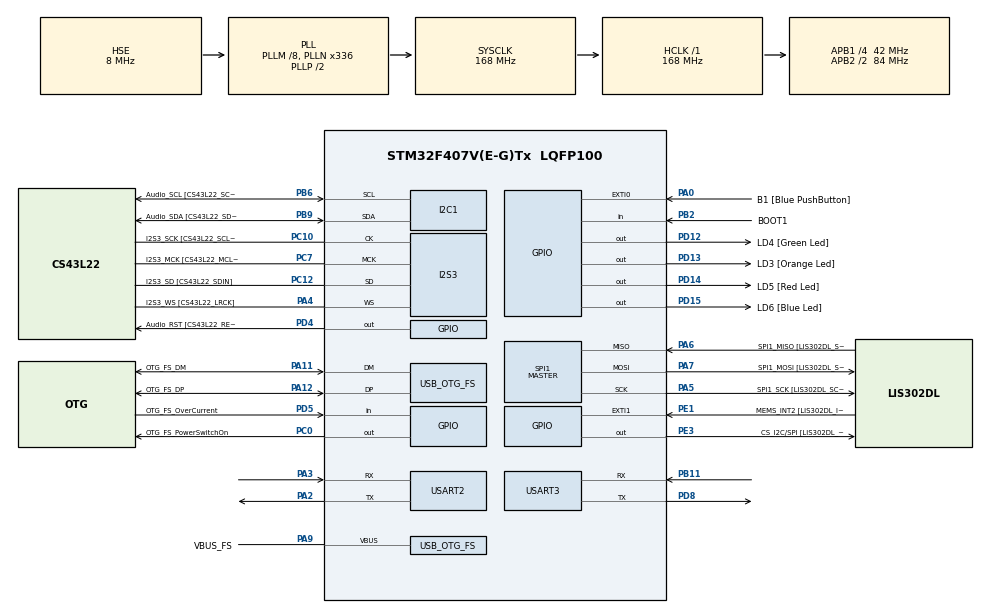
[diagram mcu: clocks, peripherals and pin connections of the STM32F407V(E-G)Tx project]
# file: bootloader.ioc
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I2S3.AudioFreq-Half_Duplex_Master=I2S_AUDIOFREQ_96K
I2S3.ErrorAudioFreq=-2.34 %
I2S3.ErrorAudioFreq-Half_Duplex_Master=0.8 %
I2S3.FullDuplexMode=I2S_FULLDUPLEXMODE_DISABLE
I2S3.Instance=SPI$Index
I2S3.RealAudioFreq=93.75 KHz
I2S3.RealAudioFreq-Half_Duplex_Master=96.774 KHz
I2S3.VirtualMode=I2S_MODE_MASTER
Mcu.Family=STM32F4
Mcu.Name=STM32F407V(E-G)Tx
Mcu.Package=LQFP100
NVIC.EXTI0_IRQn=true\:0\:0\:false\:false\:true\:true\:true\:true
NVIC.OTG_FS_IRQn=true\:0\:0\:false\:false\:true\:true\:true\:true
NVIC.PriorityGroup=NVIC_PRIORITYGROUP_0
PA0-WKUP.GPIO_Label=B1 [Blue PushButton]
PA0-WKUP.GPIO_ModeDefaultEXTI=GPIO_MODE_IT_RISING
PA0-WKUP.GPIO_PuPd=GPIO_NOPULL
PA0-WKUP.Signal=GPXTI0
PA10.GPIO_Label=OTG_FS_ID
PA10.GPIO_Mode=GPIO_MODE_AF_PP
PA10.GPIO_PuPd=GPIO_NOPULL
PA10.GPIO_Speed=GPIO_SPEED_FREQ_LOW
PA10.Signal=USB_OTG_FS_ID
PA11.GPIO_Label=OTG_FS_DM
PA11.GPIO_Mode=GPIO_MODE_AF_PP
PA11.GPIO_PuPd=GPIO_NOPULL
PA11.GPIO_Speed=GPIO_SPEED_FREQ_LOW
PA11.Mode=Host_Only
PA11.Signal=USB_OTG_FS_DM
PA12.GPIO_Label=OTG_FS_DP
PA12.GPIO_Mode=GPIO_MODE_AF_PP
PA12.GPIO_PuPd=GPIO_NOPULL
PA12.GPIO_Speed=GPIO_SPEED_FREQ_LOW
PA12.Mode=Host_Only
PA12.Signal=USB_OTG_FS_DP
PA13.GPIO_Label=SWDIO
PA13.Mode=Serial_Wire
PA13.Signal=SYS_JTMS-SWDIO
PA14.GPIO_Label=SWCLK
PA14.Mode=Serial_Wire
PA14.Signal=SYS_JTCK-SWCLK
PA2.Mode=Asynchronous
PA2.Signal=USART2_TX
PA3.Mode=Asynchronous
PA3.Signal=USART2_RX
PA4.GPIO_Label=I2S3_WS [CS43L22_LRCK]
PA4.GPIO_Mode=GPIO_MODE_AF_PP
PA4.GPIO_PuPd=GPIO_NOPULL
PA4.GPIO_Speed=GPIO_SPEED_FREQ_LOW
PA4.Mode=Half_Duplex_Master
PA4.Signal=I2S3_WS
PA5.GPIO_Label=SPI1_SCK [LIS302DL_SCL/SPC]
PA5.GPIO_Mode=GPIO_MODE_AF_PP
PA5.GPIO_PuPd=GPIO_NOPULL
PA5.GPIO_Speed=GPIO_SPEED_FREQ_LOW
PA5.Mode=Full_Duplex_Master
PA5.Signal=SPI1_SCK
PA6.GPIO_Label=SPI1_MISO [LIS302DL_SDO]
PA6.GPIO_Mode=GPIO_MODE_AF_PP
PA6.GPIO_PuPd=GPIO_NOPULL
PA6.GPIO_Speed=GPIO_SPEED_FREQ_LOW
PA6.Mode=Full_Duplex_Master
PA6.Signal=SPI1_MISO
PA7.GPIO_Label=SPI1_MOSI [LIS302DL_SDA/SDI/SDO]
PA7.GPIO_Mode=GPIO_MODE_AF_PP
PA7.GPIO_PuPd=GPIO_NOPULL
PA7.GPIO_Speed=GPIO_SPEED_FREQ_LOW
PA7.Mode=Full_Duplex_Master
PA7.Signal=SPI1_MOSI
PA9.GPIO_Label=VBUS_FS
PA9.GPIO_Mode=GPIO_MODE_INPUT
PA9.GPIO_PuPd=GPIO_NOPULL
PA9.Mode=Activate_VBUS
PA9.Signal=USB_OTG_FS_VBUS
PB10.GPIO_Label=CLK_IN [MP45DT02_CLK]
PB10.GPIO_Mode=GPIO_MODE_AF_PP
PB10.GPIO_PuPd=GPIO_NOPULL
PB10.GPIO_Speed=GPIO_SPEED_FREQ_LOW
PB10.Signal=I2S2_CK
PB11.Mode=Asynchronous
PB11.Signal=USART3_RX
PB2.GPIO_Label=BOOT1
PB2.GPIO_Mode=GPIO_MODE_INPUT
PB2.GPIO_PuPd=GPIO_NOPULL
PB2.Signal=GPIO_Input
PB3.GPIO_Label=SWO
PB3.Signal=SYS_JTDO-SWO
PB6.GPIO_Label=Audio_SCL [CS43L22_SCL]
PB6.GPIO_Mode=GPIO_MODE_AF_OD
PB6.GPIO_Pu=GPIO_PULLUP
PB6.GPIO_PuPd=GPIO_NOPULL
PB6.GPIO_Speed=GPIO_SPEED_FREQ_LOW
PB6.Mode=I2C
PB6.Signal=I2C1_SCL
PB9.GPIO_Label=Audio_SDA [CS43L22_SDA]
PB9.GPIO_Mode=GPIO_MODE_AF_OD
PB9.GPIO_Pu=GPIO_PULLUP
PB9.GPIO_PuPd=GPIO_NOPULL
PB9.GPIO_Speed=GPIO_SPEED_FREQ_LOW
PB9.Mode=I2C
PB9.Signal=I2C1_SDA
PC0.GPIO_Label=OTG_FS_PowerSwitchOn
PC0.GPIO_PuPd=GPIO_NOPULL
PC0.GPIO_Speed=GPIO_SPEED_FREQ_LOW
PC0.PinState=GPIO_PIN_SET
PC0.Signal=GPIO_Output
PC10.GPIO_Label=I2S3_SCK [CS43L22_SCLK]
PC10.GPIO_Mode=GPIO_MODE_AF_PP
PC10.GPIO_PuPd=GPIO_NOPULL
PC10.GPIO_Speed=GPIO_SPEED_FREQ_LOW
PC10.Mode=Half_Duplex_Master
PC10.Signal=I2S3_CK
PC12.GPIO_Label=I2S3_SD [CS43L22_SDIN]
PC12.GPIO_Mode=GPIO_MODE_AF_PP
PC12.GPIO_PuPd=GPIO_NOPULL
PC12.GPIO_Speed=GPIO_SPEED_FREQ_LOW
PC12.Mode=Half_Duplex_Master
PC12.Signal=I2S3_SD
PC14-OSC32_IN.GPIO_Label=PC14-OSC32_IN
PC14-OSC32_IN.Mode=LSE-External-Oscillator
PC14-OSC32_IN.Signal=RCC_OSC32_IN
PC15-OSC32_OUT.GPIO_Label=PC15-OSC32_OUT
PC15-OSC32_OUT.Mode=LSE-External-Oscillator
PC15-OSC32_OUT.Signal=RCC_OSC32_OUT
PC3.GPIO_Label=PDM_OUT [MP45DT02_DOUT]
PC3.GPIO_Mode=GPIO_MODE_AF_PP
PC3.GPIO_PuPd=GPIO_NOPULL
PC3.GPIO_Speed=GPIO_SPEED_FREQ_LOW
PC3.Signal=I2S2_SD
PC7.GPIO_Label=I2S3_MCK [CS43L22_MCLK]
PC7.GPIO_Mode=GPIO_MODE_AF_PP
PC7.GPIO_PuPd=GPIO_NOPULL
PC7.GPIO_Speed=GPIO_SPEED_FREQ_LOW
PC7.Mode=Master_Clock_Activated
PC7.Signal=I2S3_MCK
PD12.GPIO_Label=LD4 [Green Led]
PD12.GPIO_PuPd=GPIO_NOPULL
PD12.GPIO_Speed=GPIO_SPEED_FREQ_LOW
PD12.Signal=GPIO_Output
PD13.GPIO_Label=LD3 [Orange Led]
PD13.GPIO_PuPd=GPIO_NOPULL
PD13.GPIO_Speed=GPIO_SPEED_FREQ_LOW
PD13.Signal=GPIO_Output
PD14.GPIO_Label=LD5 [Red Led]
PD14.GPIO_PuPd=GPIO_NOPULL
PD14.GPIO_Speed=GPIO_SPEED_FREQ_LOW
PD14.Signal=GPIO_Output
PD15.GPIO_Label=LD6 [Blue Led]
PD15.GPIO_PuPd=GPIO_NOPULL
PD15.GPIO_Speed=GPIO_SPEED_FREQ_LOW
PD15.Signal=GPIO_Output
PD4.GPIO_Label=Audio_RST [CS43L22_RESET]
PD4.GPIO_PuPd=GPIO_NOPULL
PD4.GPIO_Speed=GPIO_SPEED_FREQ_LOW
PD4.Signal=GPIO_Output
PD5.GPIO_Label=OTG_FS_OverCurrent
PD5.GPIO_Mode=GPIO_MODE_INPUT
PD5.GPIO_PuPd=GPIO_NOPULL
PD5.Signal=GPIO_Input
PD8.Mode=Asynchronous
PD8.Signal=USART3_TX
PE1.GPIO_Label=MEMS_INT2 [LIS302DL_INT2]
PE1.GPIO_ModeDefaultEXTI=GPIO_MODE_EVT_RISING
PE1.GPIO_PuPd=GPIO_NOPULL
PE1.Signal=GPXTI1
PE3.GPIO_Label=CS_I2C/SPI [LIS302DL_CS_I2C/SPI]
PE3.GPIO_PuPd=GPIO_NOPULL
PE3.GPIO_Speed=GPIO_SPEED_FREQ_LOW
PE3.Signal=GPIO_Output
PH0-OSC_IN.GPIO_Label=PH0-OSC_IN
PH0-OSC_IN.Mode=HSE-External-Oscillator
PH0-OSC_IN.Signal=RCC_OSC_IN
PH1-OSC_OUT.GPIO_Label=PH1-OSC_OUT
PH1-OSC_OUT.Mode=HSE-External-Oscillator
PH1-OSC_OUT.Signal=RCC_OSC_OUT
ProjectManager.HeapSize=0x200
ProjectManager.StackSize=0x400
ProjectManager.TargetToolchain=STM32CubeIDE
RCC.48MHZClocksFreq_Value=48000000
RCC.AHBFreq_Value=168000000
RCC.APB1CLKDivider=RCC_HCLK_DIV4
RCC.APB1Freq_Value=42000000
RCC.APB1TimFreq_Value=84000000
RCC.APB2CLKDivider=RCC_HCLK_DIV2
RCC.APB2Freq_Value=84000000
RCC.APB2TimFreq_Value=168000000
RCC.CortexFreq_Value=168000000
RCC.HCLKFreq_Value=168000000
RCC.HSE_VALUE=8000000
RCC.HSI_VALUE=16000000
RCC.PLLM=8
RCC.PLLN=336
RCC.PLLQ=7
RCC.SYSCLKFreq_VALUE=168000000
RCC.SYSCLKSource=RCC_SYSCLKSOURCE_PLLCLK
RCC.VCOOutputFreq_Value=336000000
SPI1.BaudRatePrescaler-Full_Duplex_Master=SPI_BAUDRATEPRESCALER_2
SPI1.CalculateBaudRate-Full_Duplex_Master=42.0 MBits/s
SPI1.Direction=SPI_DIRECTION_2LINES
SPI1.Mode=SPI_MODE_MASTER
SPI1.Mode-Full_Duplex_Master=SPI_MODE_MASTER
SPI1.VirtualType=VM_MASTER
USART2.VirtualMode=VM_ASYNC
USART3.VirtualMode=VM_ASYNC
USB_HOST.BSP.number=1
USB_HOST.USBH_HandleTypeDef-CDC_FS=hUsbHostFS
USB_HOST.VirtualModeFS=Cdc
USB_HOST0.BSP.STBoard=false
USB_HOST0.BSP.api=Unknown
USB_HOST0.BSP.instance=PC0
USB_HOST0.BSP.ip=GPIO
USB_HOST0.BSP.mode=Output
USB_HOST0.BSP.name=Drive_VBUS_FS
USB_HOST0.BSP.solution=PC0
USB_OTG_FS.VirtualMode=Host_Only
USB_OTG_FS.phy_itface=HCD_PHY_EMBEDDED
VP_CRC_VS_CRC.Mode=CRC_Activate
VP_USB_HOST_VS_USB_HOST_CDC_FS.Mode=CDC_FS
board=STM32F407G-DISC1

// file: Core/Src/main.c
/* USER CODE BEGIN Header */
/**
  ******************************************************************************
  * @file           : main.c
  * @brief          : Main program body
  ******************************************************************************
  * @attention
  *
  * Copyright (c) 2025 STMicroelectronics.
  * All rights reserved.
  *
  * This software is licensed under terms that can be found in the LICENSE file
  * in the root directory of this software component.
  * If no LICENSE file comes with this software, it is provided AS-IS.
  *
  ******************************************************************************
  */
/* USER CODE END Header */
#include <stdarg.h>
#include <string.h>
#include <stdint.h>
#include "main.h"
#include "usb_host.h"

CRC_HandleTypeDef hcrc;

I2C_HandleTypeDef hi2c1;

I2S_HandleTypeDef hi2s3;

SPI_HandleTypeDef hspi1;

UART_HandleTypeDef huart2;
UART_HandleTypeDef huart3;

/* USER CODE BEGIN PV */
uint8_t uart_buff[200];

char aray[]= "test lang\r\n";
char for_error[] = "invalid\r\n";
char commands_available[] =   " GET_VER 0x51 \r\n GET_HELP 0x52 \r\n GET_CHIP_ID 0x53\r\n GET_RDP 0x54\r\n GO_TO_ADDRESS 0x55\r\n FLASH_ERASE 0x56\r\n MEMORY_WRITE 0x57\r\n";

/* USER CODE END PV */

void SystemClock_Config(void);
static void MX_GPIO_Init(void);
static void MX_I2C1_Init(void);
static void MX_I2S3_Init(void);
static void MX_SPI1_Init(void);
static void MX_CRC_Init(void);
static void MX_USART2_UART_Init(void);
static void MX_USART3_UART_Init(void);
void MX_USB_HOST_Process(void);

/* USER CODE BEGIN PFP */
void bootloader_uart_read_data(void);
void bootloader_jump_to_user_app(void);

void bootloader_handle_getver_cmd(uint8_t *uart_buff);
void bootloader_handle_gethelp_cmd(uint8_t *uart_buff);
void bootloader_handle_getcid_cmd(uint8_t *uart_buff);
void bootloader_handle_getrdp_cmd(uint8_t *uart_buff);
void bootloader_handle_go_cmd(uint8_t *uart_buff);
void bootloader_handle_flash_erase_cmd(uint8_t *uart_buff);
void bootloader_handle_mem_write_cmd(uint8_t *uart_buff);

void bootloader_send_ack(uint8_t follow_len);
void bootloader_send_nack(void);
uint8_t crc_verification(uint8_t *pData, uint32_t len, uint32_t crc_host);
uint8_t get_bootloader_version(void);
void bootloader_uart_write_data(uint8_t *version_bootloader, uint32_t length);
uint16_t get_cid(void);

uint8_t verify_address(uint32_t address_desired);
uint8_t get_flash_rdp_level(void);
uint8_t execute_flash_erase(uint8_t sector_number , uint8_t number_of_sector);
uint8_t execute_mem_write(uint8_t *pBuffer, uint32_t mem_address, uint32_t len);

/* USER CODE END PFP */

int main(void)
{

  /* MCU Configuration--------------------------------------------------------*/

  /* Reset of all peripherals, Initializes the Flash interface and the Systick. */
  HAL_Init();

  /* Configure the system clock */
  SystemClock_Config();

  /* Initialize all configured peripherals */
  MX_GPIO_Init();
  MX_I2C1_Init();
  MX_I2S3_Init();
  MX_SPI1_Init();
  MX_USB_HOST_Init();
  MX_CRC_Init();
  MX_USART2_UART_Init();
  MX_USART3_UART_Init();
  /* USER CODE BEGIN 2 */

  if (HAL_GPIO_ReadPin(GPIOA,GPIO_PIN_0)== 1){
  	  bootloader_uart_read_data();
    }
    else{
  	  bootloader_jump_to_user_app();
    }

}

void  bootloader_uart_read_data(void)
{
    uint8_t rcv_len=0;

	while(1)
	{
		memset(uart_buff,0,200);
		HAL_UART_Receive(&huart2,uart_buff,1,HAL_MAX_DELAY);
		rcv_len= uart_buff[0];
		HAL_UART_Receive(&huart2,&uart_buff[1],rcv_len,HAL_MAX_DELAY);
		switch(uart_buff[1])
		{
            case BL_GET_VER:
                bootloader_handle_getver_cmd(uart_buff);
                break;
            case BL_GET_HELP:
                bootloader_handle_gethelp_cmd(uart_buff);
                break;
            case BL_GET_CID:
                bootloader_handle_getcid_cmd(uart_buff);
                break;
            case BL_GET_RDP_STATUS:
                bootloader_handle_getrdp_cmd(uart_buff);
                break;
            case BL_GO_TO_ADDR:
                bootloader_handle_go_cmd(uart_buff);
                break;
            case BL_FLASH_ERASE:
                bootloader_handle_flash_erase_cmd(uart_buff);
                break;
            case BL_MEM_WRITE:
                bootloader_handle_mem_write_cmd(uart_buff);
                break;
            	default:
            	 HAL_UART_Transmit(&huart2,(uint8_t*)for_error, (uint16_t)sizeof(for_error),HAL_MAX_DELAY);
            	 				 break;

		}

	}

}

void bootloader_jump_to_user_app(void){
    void (*app_reset_handler)(void);

    volatile uint32_t resethandler_address = *(uint32_t*)(0x08008000U+4);
	app_reset_handler = (void*) resethandler_address;
	app_reset_handler();

}
//------------------------------Bootloader Functions Area----------------------------------------------------------------------------------------------------------------
void bootloader_handle_getver_cmd(uint8_t *uart_buff){
	uint8_t bootloader_version;

	uint32_t command_packet_length = uart_buff[0]+1;
	uint32_t host_crc = *(uint32_t*)(uart_buff + command_packet_length - 4);

	if(crc_verification(&uart_buff[0], command_packet_length - 4, host_crc )){
		bootloader_send_ack(1);
		bootloader_version = get_bootloader_version();
		bootloader_uart_write_data(&bootloader_version,1);
	}
	else
	{
		bootloader_send_nack();
	}
}

void bootloader_handle_gethelp_cmd(uint8_t *uart_buff){

	uint32_t command_packet_length = uart_buff[0]+1;
	uint32_t host_crc = *(uint32_t*)(uart_buff + command_packet_length - 4);

	if(crc_verification(&uart_buff[0], command_packet_length - 4, host_crc )){
		bootloader_send_ack(1);
		bootloader_uart_write_data((uint8_t*)commands_available, (uint16_t)sizeof(commands_available));

	}
	else
	{
		bootloader_send_nack();
	}

}

void bootloader_handle_getcid_cmd(uint8_t *uart_buff){

	uint16_t bootloader_ID;

		uint32_t command_packet_length = uart_buff[0]+1;
		uint32_t host_crc = *(uint32_t*)(uart_buff + command_packet_length - 4);
		if(crc_verification(&uart_buff[0], command_packet_length - 4, host_crc )){
			bootloader_send_ack(1);
			bootloader_ID = get_cid();
			bootloader_uart_write_data((uint8_t*)&bootloader_ID, 2);

					}
		else
		{
			bootloader_send_nack();
		}

}

void bootloader_handle_getrdp_cmd(uint8_t *uart_buff){
		uint8_t rdp = 0;
		uint32_t command_packet_length = uart_buff[0]+1;
		uint32_t host_crc = *(uint32_t*)(uart_buff + command_packet_length - 4);

		if(crc_verification(&uart_buff[0], command_packet_length - 4, host_crc )){
			bootloader_send_ack(1);
			rdp = get_flash_rdp_level();
			HAL_UART_Transmit(&huart2, &rdp, sizeof(rdp), HAL_MAX_DELAY);

		}
		else
		{
			bootloader_send_nack();
		}
}

void bootloader_handle_go_cmd(uint8_t *uart_buff){

		volatile uint32_t address_desired=0;
		char invalid[] = "address is invalid\r\n";
		uint32_t command_packet_len = uart_buff[0]+1 ;
		uint32_t host_crc = *((uint32_t * ) (uart_buff+command_packet_len - 4) ) ;

		if (crc_verification(&uart_buff[0],command_packet_len-4,host_crc))
		{
	        bootloader_send_ack(1);
	        address_desired = *((uint32_t *)&uart_buff[2] );
	        if( verify_address(address_desired) == 0 )
	        {

	            void (*execute)(void) = (void *)address_desired;
	            execute();
			}else
			{
				HAL_UART_Transmit(&huart2,(uint8_t*)invalid,(uint16_t)sizeof(invalid), HAL_MAX_DELAY);
			}

		}else
		{

	        bootloader_send_nack();
		}

}

void bootloader_handle_flash_erase_cmd(uint8_t *uart_buff){
	 	 uint8_t erase_status = 0x00;
	 	 uint32_t command_packet_len = uart_buff[0]+1 ;
	 	 uint32_t host_crc = *((uint32_t * ) (uart_buff+command_packet_len - 4) ) ;

		if (crc_verification(&uart_buff[0],command_packet_len-4,host_crc))
		{
	        bootloader_send_ack(1);
	        erase_status = execute_flash_erase(uart_buff[2] , uart_buff[3]);
	        bootloader_uart_write_data(&erase_status,1);

		}else
		{
			bootloader_send_nack();
		}

}

void bootloader_handle_mem_write_cmd(uint8_t *pBuffer)
{

	uint8_t write_status = 0x00;
	uint8_t payload_len = pBuffer[6];
	uint32_t mem_address = *((uint32_t *) ( &pBuffer[2]) );

	uint32_t command_packet_len = uart_buff[0]+1 ;
	uint32_t host_crc = *((uint32_t * ) (uart_buff+command_packet_len - 4) ) ;
	if (crc_verification(&uart_buff[0],command_packet_len-4,host_crc))
	{
        bootloader_send_ack(1);
		if( verify_address(mem_address) == 0x00 )
		{
            write_status = execute_mem_write(&pBuffer[7],mem_address, payload_len);
            bootloader_uart_write_data(&write_status,1);

		}else
		{
            write_status = 0x01;
            bootloader_uart_write_data(&write_status,1);
		}

	}else
	{
        bootloader_send_nack();
	}

}

uint8_t execute_mem_write(uint8_t *pBuffer, uint32_t mem_address, uint32_t len)
{
    uint8_t status=HAL_OK;

    HAL_FLASH_Unlock();

    for(uint32_t i = 0 ; i <len ; i++)
    {
        status = HAL_FLASH_Program(FLASH_TYPEPROGRAM_BYTE,mem_address+i,pBuffer[i] );
    }

    HAL_FLASH_Lock();

    return status;
}

//----------------------------------------------------------------------------------------------------------------------------------------

void bootloader_send_ack(uint8_t follow_len){
	//length to follow depends on the commands
	uint8_t ack_buf[2];
	ack_buf[0] = 0xA5;
	ack_buf[1] = follow_len;
	HAL_UART_Transmit(&huart2, ack_buf, 2, HAL_MAX_DELAY);
}

void bootloader_send_nack(void){
	uint8_t nack = 0x7F;

	HAL_UART_Transmit(&huart2, &nack, 1, HAL_MAX_DELAY);
}

uint8_t crc_verification(uint8_t *pData, uint32_t len, uint32_t crc_host){
	uint32_t uwCRCValue=0xff;

	for (uint32_t i =0; i < len; i++){
		uint32_t i_data = pData[i];
		uwCRCValue = HAL_CRC_Accumulate(&hcrc,&i_data, 1);
	}
	__HAL_CRC_DR_RESET(&hcrc);

	if(uwCRCValue == crc_host){
		return 1;
	}
	return 0;
}

uint8_t get_bootloader_version(void){
	return (uint8_t)bootloader_ver;
}

void bootloader_uart_write_data(uint8_t *version_bootloader, uint32_t length){

	HAL_UART_Transmit(&huart2, version_bootloader, length, HAL_MAX_DELAY);

}

//-----------------------------------------------------------------------------------------------------------------------

uint16_t get_cid(void){
	uint32_t *cid_full;
	uint16_t cid;
	cid_full = (uint32_t*)DBGMCU_BASE;
	cid = *cid_full & 0x0FFF ;

	return cid;
}

uint8_t get_flash_rdp_level(void)
{

	uint8_t rdp=0;

	uint16_t rdp_buffer;
	volatile uint32_t *rdp_address = (uint32_t*) 0x1FFFC000;
	rdp_buffer = *rdp_address;
	rdp = (uint8_t)((rdp_buffer & 0xFF00)>>8);

	return rdp;

}

uint8_t verify_address(uint32_t address_desired)
{
	if ( address_desired >= SRAM1_BASE && address_desired <= SRAM1_END)
	{
		return 0;
	}
	else if ( address_desired >= SRAM2_BASE && address_desired <= SRAM2_END)
	{
		return 0;
	}
	else if ( address_desired >= FLASH_BASE && address_desired <= FLASH_END)
	{
		return 0 ;
	}
	else if ( address_desired >= BKPSRAM_BASE && address_desired <= BKPSRAM_END)
	{
		return 0;
	}
	else
		return 1;
}

uint8_t execute_flash_erase(uint8_t sector_number , uint8_t number_of_sector)
{
	FLASH_EraseInitTypeDef flashErase_handle;
	uint32_t sectorError;
	HAL_StatusTypeDef status;

	if( number_of_sector > 8 )
		return INVALID_SECTOR;

	if( (sector_number == 0xff ) || (sector_number <= 7) )
	{
		if(sector_number == (uint8_t) 0xff)
		{
			flashErase_handle.TypeErase = FLASH_TYPEERASE_MASSERASE;
		}
		else
		{
			uint8_t remanining_sector = 8 - sector_number;
            if( number_of_sector > remanining_sector)
            {
            	number_of_sector = remanining_sector;
            }
			flashErase_handle.TypeErase = FLASH_TYPEERASE_SECTORS;
			flashErase_handle.Sector = sector_number;
			flashErase_handle.NbSectors = number_of_sector;
		}
		flashErase_handle.Banks = FLASH_BANK_1;

		HAL_FLASH_Unlock();
		flashErase_handle.VoltageRange = FLASH_VOLTAGE_RANGE_3;  // our mcu will work on this voltage range
		status = (uint8_t) HAL_FLASHEx_Erase(&flashErase_handle, &sectorError);
		HAL_FLASH_Lock();

		return status;
	}

	return INVALID_SECTOR;
}

void SystemClock_Config(void)
{
  RCC_OscInitTypeDef RCC_OscInitStruct = {0};
  RCC_ClkInitTypeDef RCC_ClkInitStruct = {0};

  /** Configure the main internal regulator output voltage
  */
  __HAL_RCC_PWR_CLK_ENABLE();
  __HAL_PWR_VOLTAGESCALING_CONFIG(PWR_REGULATOR_VOLTAGE_SCALE1);

  /** Initializes the RCC Oscillators according to the specified parameters
  * in the RCC_OscInitTypeDef structure.
  */
  RCC_OscInitStruct.OscillatorType = RCC_OSCILLATORTYPE_HSE;
  RCC_OscInitStruct.HSEState = RCC_HSE_ON;
  RCC_OscInitStruct.PLL.PLLState = RCC_PLL_ON;
  RCC_OscInitStruct.PLL.PLLSource = RCC_PLLSOURCE_HSE;
  RCC_OscInitStruct.PLL.PLLM = 8;
  RCC_OscInitStruct.PLL.PLLN = 336;
  RCC_OscInitStruct.PLL.PLLP = RCC_PLLP_DIV2;
  RCC_OscInitStruct.PLL.PLLQ = 7;
  if (HAL_RCC_OscConfig(&RCC_OscInitStruct) != HAL_OK)
  {
    Error_Handler();
  }

  /** Initializes the CPU, AHB and APB buses clocks
  */
  RCC_ClkInitStruct.ClockType = RCC_CLOCKTYPE_HCLK|RCC_CLOCKTYPE_SYSCLK
                              |RCC_CLOCKTYPE_PCLK1|RCC_CLOCKTYPE_PCLK2;
  RCC_ClkInitStruct.SYSCLKSource = RCC_SYSCLKSOURCE_PLLCLK;
  RCC_ClkInitStruct.AHBCLKDivider = RCC_SYSCLK_DIV1;
  RCC_ClkInitStruct.APB1CLKDivider = RCC_HCLK_DIV4;
  RCC_ClkInitStruct.APB2CLKDivider = RCC_HCLK_DIV2;

  if (HAL_RCC_ClockConfig(&RCC_ClkInitStruct, FLASH_LATENCY_5) != HAL_OK)
  {
    Error_Handler();
  }
}

static void MX_CRC_Init(void)
{

  hcrc.Instance = CRC;
  if (HAL_CRC_Init(&hcrc) != HAL_OK)
  {
    Error_Handler();
  }

}

static void MX_I2C1_Init(void)
{

  hi2c1.Instance = I2C1;
  hi2c1.Init.ClockSpeed = 100000;
  hi2c1.Init.DutyCycle = I2C_DUTYCYCLE_2;
  hi2c1.Init.OwnAddress1 = 0;
  hi2c1.Init.AddressingMode = I2C_ADDRESSINGMODE_7BIT;
  hi2c1.Init.DualAddressMode = I2C_DUALADDRESS_DISABLE;
  hi2c1.Init.OwnAddress2 = 0;
  hi2c1.Init.GeneralCallMode = I2C_GENERALCALL_DISABLE;
  hi2c1.Init.NoStretchMode = I2C_NOSTRETCH_DISABLE;
  if (HAL_I2C_Init(&hi2c1) != HAL_OK)
  {
    Error_Handler();
  }

}

static void MX_I2S3_Init(void)
{

  hi2s3.Instance = SPI3;
  hi2s3.Init.Mode = I2S_MODE_MASTER_TX;
  hi2s3.Init.Standard = I2S_STANDARD_PHILIPS;
  hi2s3.Init.DataFormat = I2S_DATAFORMAT_16B;
  hi2s3.Init.MCLKOutput = I2S_MCLKOUTPUT_ENABLE;
  hi2s3.Init.AudioFreq = I2S_AUDIOFREQ_96K;
  hi2s3.Init.CPOL = I2S_CPOL_LOW;
  hi2s3.Init.ClockSource = I2S_CLOCK_PLL;
  hi2s3.Init.FullDuplexMode = I2S_FULLDUPLEXMODE_DISABLE;
  if (HAL_I2S_Init(&hi2s3) != HAL_OK)
  {
    Error_Handler();
  }

}

static void MX_SPI1_Init(void)
{

  /* SPI1 parameter configuration*/
  hspi1.Instance = SPI1;
  hspi1.Init.Mode = SPI_MODE_MASTER;
  hspi1.Init.Direction = SPI_DIRECTION_2LINES;
  hspi1.Init.DataSize = SPI_DATASIZE_8BIT;
  hspi1.Init.CLKPolarity = SPI_POLARITY_LOW;
  hspi1.Init.CLKPhase = SPI_PHASE_1EDGE;
  hspi1.Init.NSS = SPI_NSS_SOFT;
  hspi1.Init.BaudRatePrescaler = SPI_BAUDRATEPRESCALER_2;
  hspi1.Init.FirstBit = SPI_FIRSTBIT_MSB;
  hspi1.Init.TIMode = SPI_TIMODE_DISABLE;
  hspi1.Init.CRCCalculation = SPI_CRCCALCULATION_DISABLE;
  hspi1.Init.CRCPolynomial = 10;
  if (HAL_SPI_Init(&hspi1) != HAL_OK)
  {
    Error_Handler();
  }

}

static void MX_USART2_UART_Init(void)
{

  huart2.Instance = USART2;
  huart2.Init.BaudRate = 115200;
  huart2.Init.WordLength = UART_WORDLENGTH_8B;
  huart2.Init.StopBits = UART_STOPBITS_1;
  huart2.Init.Parity = UART_PARITY_NONE;
  huart2.Init.Mode = UART_MODE_TX_RX;
  huart2.Init.HwFlowCtl = UART_HWCONTROL_NONE;
  huart2.Init.OverSampling = UART_OVERSAMPLING_16;
  if (HAL_UART_Init(&huart2) != HAL_OK)
  {
    Error_Handler();
  }

}

static void MX_USART3_UART_Init(void)
{

  huart3.Instance = USART3;
  huart3.Init.BaudRate = 115200;
  huart3.Init.WordLength = UART_WORDLENGTH_8B;
  huart3.Init.StopBits = UART_STOPBITS_1;
  huart3.Init.Parity = UART_PARITY_NONE;
  huart3.Init.Mode = UART_MODE_TX_RX;
  huart3.Init.HwFlowCtl = UART_HWCONTROL_NONE;
  huart3.Init.OverSampling = UART_OVERSAMPLING_16;
  if (HAL_UART_Init(&huart3) != HAL_OK)
  {
    Error_Handler();
  }

}

static void MX_GPIO_Init(void)
{
  GPIO_InitTypeDef GPIO_InitStruct = {0};

  /* GPIO Ports Clock Enable */
  __HAL_RCC_GPIOE_CLK_ENABLE();
  __HAL_RCC_GPIOC_CLK_ENABLE();
  __HAL_RCC_GPIOH_CLK_ENABLE();
  __HAL_RCC_GPIOA_CLK_ENABLE();
  __HAL_RCC_GPIOB_CLK_ENABLE();
  __HAL_RCC_GPIOD_CLK_ENABLE();

  /*Configure GPIO pin Output Level */
  HAL_GPIO_WritePin(CS_I2C_SPI_GPIO_Port, CS_I2C_SPI_Pin, GPIO_PIN_RESET);

  /*Configure GPIO pin Output Level */
  HAL_GPIO_WritePin(OTG_FS_PowerSwitchOn_GPIO_Port, OTG_FS_PowerSwitchOn_Pin, GPIO_PIN_SET);

  /*Configure GPIO pin Output Level */
  HAL_GPIO_WritePin(GPIOD, LD4_Pin|LD3_Pin|LD5_Pin|LD6_Pin
                          |Audio_RST_Pin, GPIO_PIN_RESET);

  /*Configure GPIO pin : CS_I2C_SPI_Pin */
  GPIO_InitStruct.Pin = CS_I2C_SPI_Pin;
  GPIO_InitStruct.Mode = GPIO_MODE_OUTPUT_PP;
  GPIO_InitStruct.Pull = GPIO_NOPULL;
  GPIO_InitStruct.Speed = GPIO_SPEED_FREQ_LOW;
  HAL_GPIO_Init(CS_I2C_SPI_GPIO_Port, &GPIO_InitStruct);

  /*Configure GPIO pin : OTG_FS_PowerSwitchOn_Pin */
  GPIO_InitStruct.Pin = OTG_FS_PowerSwitchOn_Pin;
  GPIO_InitStruct.Mode = GPIO_MODE_OUTPUT_PP;
  GPIO_InitStruct.Pull = GPIO_NOPULL;
  GPIO_InitStruct.Speed = GPIO_SPEED_FREQ_LOW;
  HAL_GPIO_Init(OTG_FS_PowerSwitchOn_GPIO_Port, &GPIO_InitStruct);

  /*Configure GPIO pin : PDM_OUT_Pin */
  GPIO_InitStruct.Pin = PDM_OUT_Pin;
  GPIO_InitStruct.Mode = GPIO_MODE_AF_PP;
  GPIO_InitStruct.Pull = GPIO_NOPULL;
  GPIO_InitStruct.Speed = GPIO_SPEED_FREQ_LOW;
  GPIO_InitStruct.Alternate = GPIO_AF5_SPI2;
  HAL_GPIO_Init(PDM_OUT_GPIO_Port, &GPIO_InitStruct);

  /*Configure GPIO pin : B1_Pin */
  GPIO_InitStruct.Pin = B1_Pin;
  GPIO_InitStruct.Mode = GPIO_MODE_IT_RISING;
  GPIO_InitStruct.Pull = GPIO_NOPULL;
  HAL_GPIO_Init(B1_GPIO_Port, &GPIO_InitStruct);

  /*Configure GPIO pin : BOOT1_Pin */
  GPIO_InitStruct.Pin = BOOT1_Pin;
  GPIO_InitStruct.Mode = GPIO_MODE_INPUT;
  GPIO_InitStruct.Pull = GPIO_NOPULL;
  HAL_GPIO_Init(BOOT1_GPIO_Port, &GPIO_InitStruct);

  /*Configure GPIO pin : CLK_IN_Pin */
  GPIO_InitStruct.Pin = CLK_IN_Pin;
  GPIO_InitStruct.Mode = GPIO_MODE_AF_PP;
  GPIO_InitStruct.Pull = GPIO_NOPULL;
  GPIO_InitStruct.Speed = GPIO_SPEED_FREQ_LOW;
  GPIO_InitStruct.Alternate = GPIO_AF5_SPI2;
  HAL_GPIO_Init(CLK_IN_GPIO_Port, &GPIO_InitStruct);

  /*Configure GPIO pins : LD4_Pin LD3_Pin LD5_Pin LD6_Pin
                           Audio_RST_Pin */
  GPIO_InitStruct.Pin = LD4_Pin|LD3_Pin|LD5_Pin|LD6_Pin
                          |Audio_RST_Pin;
  GPIO_InitStruct.Mode = GPIO_MODE_OUTPUT_PP;
  GPIO_InitStruct.Pull = GPIO_NOPULL;
  GPIO_InitStruct.Speed = GPIO_SPEED_FREQ_LOW;
  HAL_GPIO_Init(GPIOD, &GPIO_InitStruct);

  /*Configure GPIO pin : OTG_FS_OverCurrent_Pin */
  GPIO_InitStruct.Pin = OTG_FS_OverCurrent_Pin;
  GPIO_InitStruct.Mode = GPIO_MODE_INPUT;
  GPIO_InitStruct.Pull = GPIO_NOPULL;
  HAL_GPIO_Init(OTG_FS_OverCurrent_GPIO_Port, &GPIO_InitStruct);

  /*Configure GPIO pin : MEMS_INT2_Pin */
  GPIO_InitStruct.Pin = MEMS_INT2_Pin;
  GPIO_InitStruct.Mode = GPIO_MODE_EVT_RISING;
  GPIO_InitStruct.Pull = GPIO_NOPULL;
  HAL_GPIO_Init(MEMS_INT2_GPIO_Port, &GPIO_InitStruct);

  /* EXTI interrupt init*/
  HAL_NVIC_SetPriority(EXTI0_IRQn, 0, 0);
  HAL_NVIC_EnableIRQ(EXTI0_IRQn);

}

void Error_Handler(void)
{
  __disable_irq();
  while (1)
  {
  }
}
